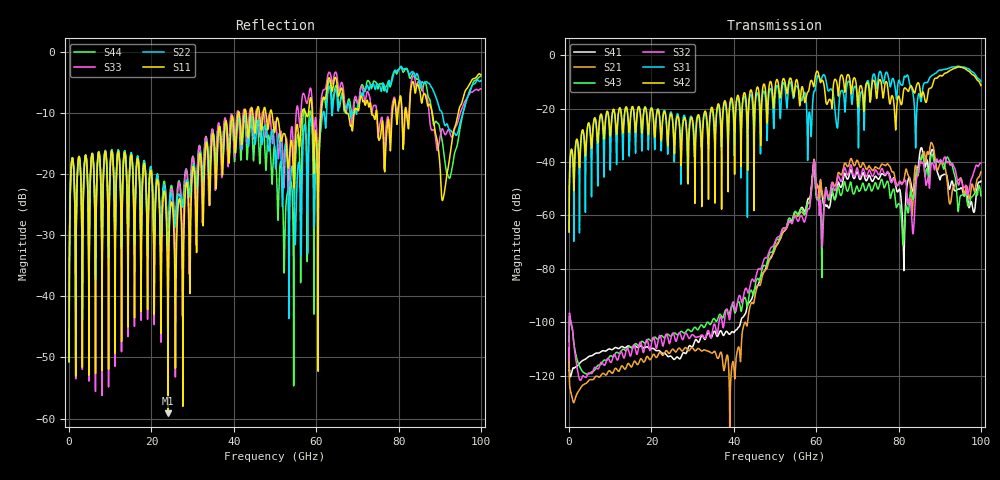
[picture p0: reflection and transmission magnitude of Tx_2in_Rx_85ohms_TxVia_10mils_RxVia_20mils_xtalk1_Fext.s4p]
! Info: Touchstone file created by Circ.  Input file=Tx_2in_Rx_85ohms_TxVia_10mils_RxVia_20mils.circ
# Hz S RI R 50
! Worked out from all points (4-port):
!   10000 points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, 10 MHz to 100 GHz, reference 50 ohm
!   strongest paths, dB at 10 MHz, 25.01 GHz, 50.01 GHz, 75.01 GHz, 100 GHz:
!     S42: -66.3, -23.1, -12.7, -11.8, -11.4
!     S31: -66.3, -22.6, -15.9, -9.4, -9.7
!     S32: -114.2, -104.5, -69.9, -44.5, -40.4
!     S43: -107.4, -104.9, -70.5, -50.1, -52.7
!     S21: -110.3, -110.2, -72.6, -42.5, -43.7
!     S41: -109.6, -113.2, -72.1, -46.4, -47.2
!   lowest |S11| = -59.1 dB at 24 GHz (marker M1), VSWR 1.00, Z = 50 - j0.11 ohm
!   |S11| at or under -10 dB: start of sweep to 41.05 GHz; 49.28 GHz to 56.55 GHz (7.275 GHz wide, 13.7 % of centre); 88.21 GHz to 94.49 GHz (6.278 GHz wide, 6.87 % of centre) (the widest 3 of 17)
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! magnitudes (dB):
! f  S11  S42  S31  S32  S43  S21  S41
! 10 MHz  -50.7  -66.3  -66.3  -114.2  -107.4  -110.3  -109.6
! 6.22 GHz  -24.9  -23.5  -23.6  -116.9  -117.9  -120.8  -111.9
! 24 GHz  -59.1  -33.6  -35.5  -106.0  -104.5  -111.3  -112.9
! 47.73 GHz  -9.7  -13.6  -16.9  -75.9  -79.0  -80.4  -80.1
! 59.35 GHz  -17.6  -11.7  -14.6  -41.5  -41.3  -40.6  -40.4
! 83.49 GHz  -4.8  -12.8  -14.2  -66.9  -53.9  -54.9  -50.9
! 100 GHz  -3.7  -11.4  -9.7  -40.4  -52.7  -43.7  -47.2
